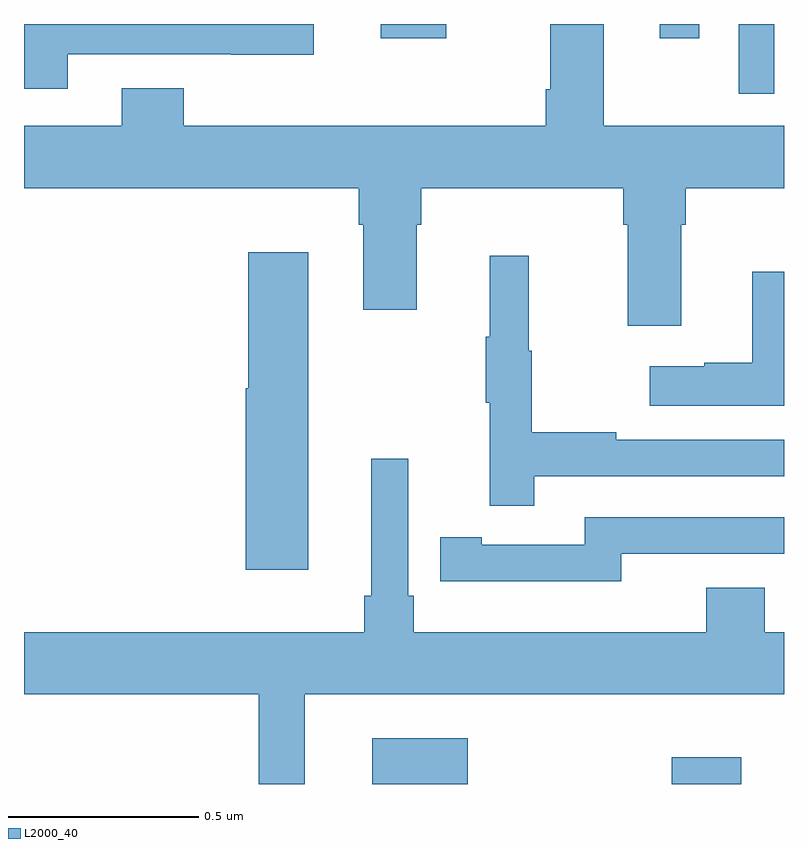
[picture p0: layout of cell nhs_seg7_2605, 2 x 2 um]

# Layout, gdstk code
import gdstk
lib = gdstk.Library(unit=1e-6, precision=1e-09)
def R(c, l, rs):  # rectangles x0, y0, x1, y1
    for r in rs: c.add(gdstk.rectangle(r[:2], r[2:], *l))
def P(c, l, *ps):  # polygons
    for p in ps: c.add(gdstk.Polygon(p, *l))
L2000_40 = (2000, 40)

nhs_seg7_2605 = lib.new_cell('nhs_seg7_2605')
R(nhs_seg7_2605, L2000_40, [(147.917,1047,148.168,1047.121), (148.705,1047,148.888,1047.07), (148.881,1048.817,148.974,1049), (147.939,1048.962,148.111,1049), (148.673,1048.962,148.777,1049)])
P(nhs_seg7_2605, L2000_40, [(148.729,1048.472),(148.742,1048.472),(148.742,1048.568),(149,1048.568),(149,1048.732),(148.525,1048.732),(148.525,1049),(148.385,1049),(148.385,1048.828),(148.373,1048.828),(148.373,1048.732),(147.421,1048.732),(147.421,1048.831),(147.257,1048.831),(147.257,1048.732),(147,1048.732),(147,1048.568),(147.881,1048.568),(147.881,1048.472),(147.893,1048.472),(147.893,1048.248),(148.033,1048.248),(148.033,1048.472),(148.046,1048.472),(148.046,1048.568),(148.577,1048.568),(148.577,1048.472),(148.589,1048.472),(148.589,1048.206),(148.729,1048.206)],
  [(147.115,1048.92),(147.545,1048.92),(147.545,1048.919),(147.763,1048.919),(147.763,1049),(147,1049),(147,1048.83),(147.115,1048.83)],
  [(147.748,1048.399),(147.59,1048.399),(147.59,1048.041),(147.584,1048.041),(147.584,1047.564),(147.748,1047.564)],
  [(148.343,1047.81),(149,1047.81),(149,1047.906),(148.559,1047.906),(148.559,1047.926),(148.336,1047.926),(148.336,1048.14),(148.328,1048.14),(148.328,1048.39),(148.226,1048.39),(148.226,1048.177),(148.215,1048.177),(148.215,1048.003),(148.226,1048.003),(148.226,1047.732),(148.343,1047.732)],
  [(149,1048.348),(148.916,1048.348),(148.916,1048.109),(148.79,1048.109),(148.79,1048.099),(148.647,1048.099),(148.647,1047.995),(149,1047.995)],
  [(147.739,1047.236),(149,1047.236),(149,1047.4),(148.949,1047.4),(148.949,1047.517),(148.796,1047.517),(148.796,1047.4),(148.025,1047.4),(148.025,1047.496),(148.011,1047.496),(148.011,1047.856),(147.914,1047.856),(147.914,1047.496),(147.895,1047.496),(147.895,1047.4),(147,1047.4),(147,1047.236),(147.618,1047.236),(147.618,1047),(147.739,1047)],
  [(148.572,1047.606),(149,1047.606),(149,1047.702),(148.476,1047.702),(148.476,1047.63),(148.204,1047.63),(148.204,1047.65),(148.096,1047.65),(148.096,1047.534),(148.204,1047.534),(148.204,1047.533),(148.572,1047.533)])

lib.write_gds('nhs_seg7_2605.gds')
